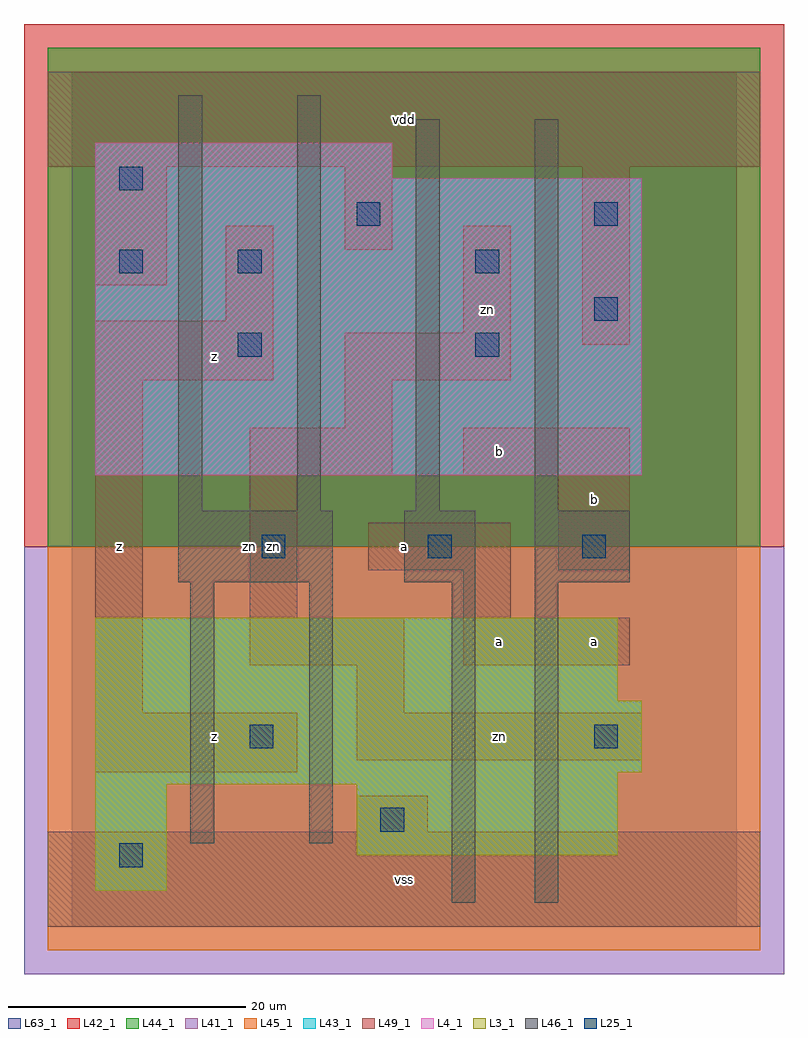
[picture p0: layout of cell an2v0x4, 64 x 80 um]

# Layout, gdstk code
import gdstk
lib = gdstk.Library(unit=1e-6, precision=1e-09)
def R(c, l, rs):  # rectangles x0, y0, x1, y1
    for r in rs: c.add(gdstk.rectangle(r[:2], r[2:], *l))
L3_1 = (3, 1)
L4_1 = (4, 1)
L25_1 = (25, 1)
L41_1 = (41, 1)
L42_1 = (42, 1)
L43_1 = (43, 1)
L44_1 = (44, 1)
L45_1 = (45, 1)
L46_1 = (46, 1)
L49_1 = (49, 1)
L63_1 = (63, 1)

an2v0x4 = lib.new_cell('an2v0x4')
R(an2v0x4, L3_1, [(2,3,8,12), (24,6,46,12), (2,12,46,13), (2,13,48,19), (2,19,46,26)])
R(an2v0x4, L4_1, [(2,38,48,63), (2,63,27,66)])
R(an2v0x4, L25_1, [(4,5,6,7), (26,8,28,10), (15,15,17,17), (44,15,46,17), (16,31,18,33), (30,31,32,33), (43,31,45,33), (14,48,16,50), (34,48,36,50), (44,51,46,53), (4,55,6,57), (14,55,16,57), (34,55,36,57), (24,59,26,61), (44,59,46,61), (4,62,6,64)])
R(an2v0x4, L41_1, [(-4,-4,60,32)])
R(an2v0x4, L42_1, [(-4,32,60,76)])
R(an2v0x4, L43_1, [(2,3,8,12), (24,6,46,12), (2,12,46,13), (2,13,48,19), (2,19,46,26), (2,38,48,63), (2,63,27,66)])
R(an2v0x4, L44_1, [(-2,32,58,74)])
R(an2v0x4, L45_1, [(-2,-2,58,32)])
R(an2v0x4, L46_1, [(32,2,34,29), (39,2,41,29), (10,7,12,29), (20,7,22,29), (9,29,22,35), (28,29,34,35), (39,29,47,35), (9,35,11,70), (19,35,21,70), (29,35,31,68), (39,35,41,68)])
R(an2v0x4, L49_1, [(-2,0,58,8), (24,8,30,11), (2,13,19,18), (24,14,48,18), (2,18,6,46), (24,18,28,22), (15,22,28,26), (33,22,47,26), (15,26,19,38), (33,26,37,30), (25,30,37,34), (41,30,47,38), (15,38,27,42), (33,38,47,42), (23,42,27,46), (2,46,17,51), (23,46,37,50), (43,49,47,64), (33,50,37,59), (13,51,17,59), (2,54,8,64), (23,57,27,64), (-2,64,58,72)])
R(an2v0x4, L63_1, [(0,0,56,72)])
an2v0x4.add(gdstk.Label('zn', (15,32), layer=46, texttype=1))
an2v0x4.add(gdstk.Label('z', (4,32), layer=49, texttype=1))
an2v0x4.add(gdstk.Label('z', (12,16), layer=49, texttype=1))
an2v0x4.add(gdstk.Label('zn', (17,32), layer=49, texttype=1))
an2v0x4.add(gdstk.Label('z', (12,48), layer=49, texttype=1))
an2v0x4.add(gdstk.Label('vss', (28,4), layer=49, texttype=1))
an2v0x4.add(gdstk.Label('a', (28,32), layer=49, texttype=1))
an2v0x4.add(gdstk.Label('a', (36,24), layer=49, texttype=1))
an2v0x4.add(gdstk.Label('b', (36,40), layer=49, texttype=1))
an2v0x4.add(gdstk.Label('zn', (35,52), layer=49, texttype=1))
an2v0x4.add(gdstk.Label('vdd', (28,68), layer=49, texttype=1))
an2v0x4.add(gdstk.Label('zn', (36,16), layer=49, texttype=1))
an2v0x4.add(gdstk.Label('a', (44,24), layer=49, texttype=1))
an2v0x4.add(gdstk.Label('b', (44,36), layer=49, texttype=1))

lib.write_gds('an2v0x4.gds')
